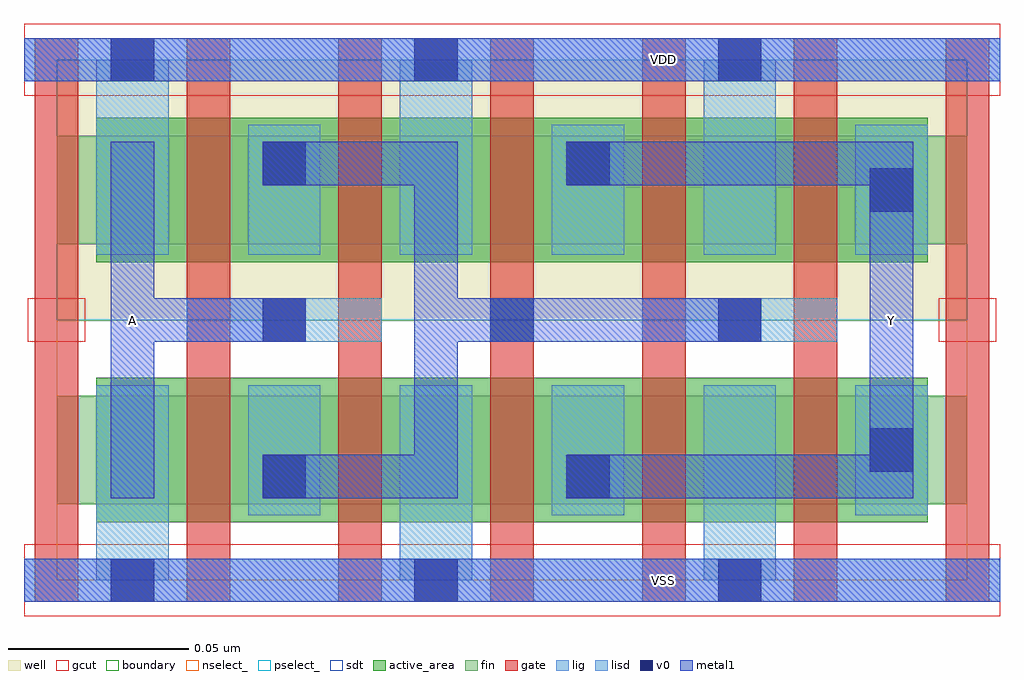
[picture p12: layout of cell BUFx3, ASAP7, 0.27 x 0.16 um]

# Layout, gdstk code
import gdstk
lib = gdstk.Library(unit=1e-6, precision=2.5e-10)
def R(c, l, rs):  # rectangles x0, y0, x1, y1
    for r in rs: c.add(gdstk.rectangle(r[:2], r[2:], *l))
def A(c, l, x, y, w, h, nx, ny, dx, dy):  # array of equal rectangles
    R(c, l, [(x+i*dx, y+j*dy, x+i*dx+w, y+j*dy+h) for i in range(nx) for j in range(ny)])
def P(c, l, *ps):  # polygons
    for p in ps: c.add(gdstk.Polygon(p, *l))
well = (1, 0)
fin = (2, 0)
gate = (7, 0)
gcut = (10, 0)
active_area = (11, 0)
nselect_ = (12, 0)
pselect_ = (13, 0)
lig = (16, 0)
lisd = (17, 0)
v0 = (18, 0)
metal1 = (19, 0)
sdt = (88, 0)
boundary = (100, 0)

bufx3 = lib.new_cell('BUFx3')
R(bufx3, well, [(0,0.072,0.252,0.144)])
R(bufx3, fin, [(0,0.021,0.252,0.051), (0,0.093,0.252,0.123)])
A(bufx3, gate, -0.006, -0.006, 0.012, 0.156, 7, 1, 0.042, 0)
R(bufx3, gcut, [(-0.009,-0.01,0.261,0.01), (-0.008,0.066,0.008,0.078), (0.244,0.066,0.26,0.078), (-0.009,0.134,0.261,0.154)])
R(bufx3, active_area, [(0.011,0.016,0.241,0.056), (0.011,0.088,0.241,0.128)])
R(bufx3, nselect_, [(0,0,0.252,0.072)])
R(bufx3, pselect_, [(0,0.072,0.252,0.144)])
R(bufx3, lig, [(-0.009,-0.006,0.261,0.006), (0.036,0.066,0.09,0.078), (0.12,0.066,0.132,0.078), (0.162,0.066,0.216,0.078), (-0.009,0.138,0.261,0.15)])
A(bufx3, lisd, 0.011, 0, 0.02, 0.054, 3, 2, 0.084, 0.09)
A(bufx3, lisd, 0.053, 0.018, 0.02, 0.036, 3, 2, 0.084, 0.072)
A(bufx3, v0, 0.015, -0.006, 0.012, 0.012, 3, 2, 0.084, 0.144)
A(bufx3, v0, 0.057, 0.066, 0.012, 0.012, 3, 1, 0.063, 0)
R(bufx3, v0, [(0.057,0.0227,0.069,0.0348), (0.141,0.0227,0.153,0.0348), (0.225,0.03,0.237,0.042), (0.225,0.102,0.237,0.114), (0.057,0.1092,0.069,0.1212), (0.141,0.1092,0.153,0.1212)])
R(bufx3, metal1, [(-0.009,-0.006,0.261,0.006), (-0.009,0.138,0.261,0.15)])
P(bufx3, metal1, [(0.141,0.0348),(0.141,0.0227),(0.237,0.0227),(0.237,0.1212),(0.141,0.1212),(0.141,0.1092),(0.225,0.1092),(0.225,0.0348)],
  [(0.057,0.1092),(0.099,0.1092),(0.099,0.0348),(0.057,0.0348),(0.057,0.0227),(0.111,0.0227),(0.111,0.066),(0.195,0.066),(0.195,0.078),(0.111,0.078),(0.111,0.1212),(0.057,0.1212)],
  [(0.015,0.0227),(0.027,0.0227),(0.027,0.066),(0.069,0.066),(0.069,0.078),(0.027,0.078),(0.027,0.1212),(0.015,0.1212)])
A(bufx3, sdt, 0.011, 0.021, 0.02, 0.03, 6, 2, 0.042, 0.072)
R(bufx3, boundary, [(0,0,0.252,0.144)])
bufx3.add(gdstk.Label('Y', (0.231,0.072), layer=19, texttype=251))
bufx3.add(gdstk.Label('A', (0.021,0.072), layer=19, texttype=251))
bufx3.add(gdstk.Label('VSS', (0.168,0), layer=19, texttype=251))
bufx3.add(gdstk.Label('VDD', (0.168,0.144), layer=19, texttype=251))

lib.write_gds('BUFx3.gds')
